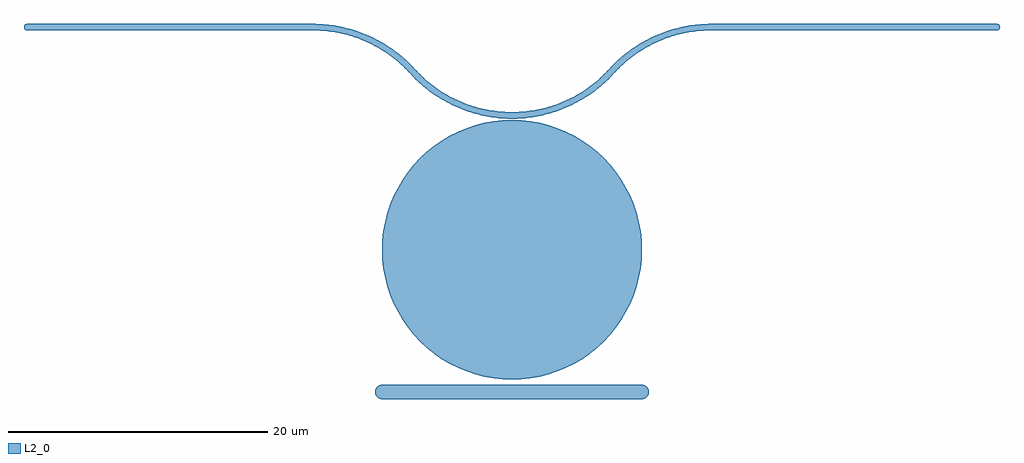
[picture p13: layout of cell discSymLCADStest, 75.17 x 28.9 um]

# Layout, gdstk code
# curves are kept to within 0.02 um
import gdstk
lib = gdstk.Library(unit=1e-6, precision=1e-09)
def R(c, l, rs):  # rectangles x0, y0, x1, y1
    for r in rs: c.add(gdstk.rectangle(r[:2], r[2:], *l))
def P(c, l, *ps):  # polygons
    for p in ps: c.add(gdstk.Polygon(p, *l))
L2_0 = (2, 0)

discsymlcadstest = lib.new_cell('discSymLCADStest')
R(discsymlcadstest, L2_0, [(0,8.5,20,9.6)])
P(discsymlcadstest, L2_0, [(10,10),(9.287,10.025),(8.577,10.102),(7.874,10.229),(7.183,10.405),(6.505,10.631),(5.846,10.904),(5.208,11.223),(4.594,11.587),(4.007,11.995),(3.451,12.443),(2.929,12.929),(2.443,13.451),(1.995,14.007),(1.587,14.594),(1.223,15.208),(0.904,15.846),(0.631,16.505),(0.405,17.183),(0.229,17.874),(0.102,18.577),(0.025,19.287),(0,20),(0.025,20.713),(0.102,21.423),(0.229,22.126),(0.405,22.817),(0.631,23.495),(0.904,24.154),(1.223,24.792),(1.587,25.406),(1.995,25.993),(2.443,26.549),(2.929,27.071),(3.451,27.557),(4.007,28.005),(4.594,28.413),(5.208,28.777),(5.846,29.096),(6.505,29.369),(7.183,29.595),(7.874,29.771),(8.577,29.898),(9.287,29.975),(10,30),(10.713,29.975),(11.423,29.898),(12.126,29.771),(12.817,29.595),(13.495,29.369),(14.154,29.096),(14.792,28.777),(15.406,28.413),(15.993,28.005),(16.549,27.557),(17.071,27.071),(17.557,26.549),(18.005,25.993),(18.413,25.406),(18.777,24.792),(19.096,24.154),(19.369,23.495),(19.595,22.817),(19.771,22.126),(19.898,21.423),(19.975,20.713),(20,20),(19.975,19.287),(19.898,18.577),(19.771,17.874),(19.595,17.183),(19.369,16.505),(19.096,15.846),(18.777,15.208),(18.413,14.594),(18.005,14.007),(17.557,13.451),(17.071,12.929),(16.549,12.443),(15.993,11.995),(15.406,11.587),(14.792,11.223),(14.154,10.904),(13.495,10.631),(12.817,10.405),(12.126,10.229),(11.423,10.102),(10.713,10.025)],
  [(10,30.1),(8.797,30.169),(7.609,30.373),(6.452,30.711),(5.341,31.179),(4.29,31.769),(3.47,32.35),(2.709,33.005),(1.885,33.859),(1.329,34.386),(0.734,34.869),(0.105,35.305),(-0.725,35.782),(-1.596,36.178),(-2.501,36.49),(-3.431,36.715),(-4.379,36.851),(-5.335,36.896),(-27.335,36.896),(-27.335,37.396),(-5.335,37.396),(-4.332,37.348),(-3.337,37.206),(-2.361,36.97),(-1.411,36.643),(-0.496,36.227),(0.375,35.727),(1.035,35.268),(1.659,34.761),(2.1,34.351),(3.053,33.368),(3.778,32.744),(4.56,32.19),(5.561,31.628),(6.619,31.183),(7.722,30.86),(8.853,30.665),(10,30.6),(11.147,30.665),(12.278,30.86),(13.381,31.183),(14.439,31.628),(15.44,32.19),(16.222,32.744),(16.947,33.368),(17.9,34.351),(18.341,34.761),(18.965,35.268),(19.625,35.727),(20.496,36.227),(21.411,36.643),(22.361,36.97),(23.337,37.206),(24.332,37.348),(25.335,37.396),(47.335,37.396),(47.335,36.896),(25.335,36.896),(24.379,36.851),(23.431,36.715),(22.501,36.49),(21.596,36.178),(20.725,35.782),(19.895,35.305),(19.266,34.869),(18.671,34.386),(18.115,33.859),(17.291,33.005),(16.53,32.35),(15.71,31.769),(14.659,31.179),(13.548,30.711),(12.391,30.373),(11.203,30.169)],
  [(-27.335,36.896),(-27.432,36.916),(-27.512,36.969),(-27.565,37.049),(-27.585,37.146),(-27.565,37.243),(-27.512,37.323),(-27.432,37.376),(-27.335,37.396)],
  [(47.335,36.896),(47.335,37.396),(47.432,37.376),(47.512,37.323),(47.565,37.243),(47.585,37.146),(47.565,37.049),(47.512,36.969),(47.432,36.916)],
  [(20,8.5),(20,9.6),(20.214,9.557),(20.389,9.439),(20.507,9.264),(20.55,9.05),(20.507,8.836),(20.389,8.661),(20.214,8.543)],
  [(0,8.5),(-0.214,8.543),(-0.389,8.661),(-0.507,8.836),(-0.55,9.05),(-0.507,9.264),(-0.389,9.439),(-0.214,9.557),(0,9.6)])

lib.write_gds('discSymLCADStest.gds')
